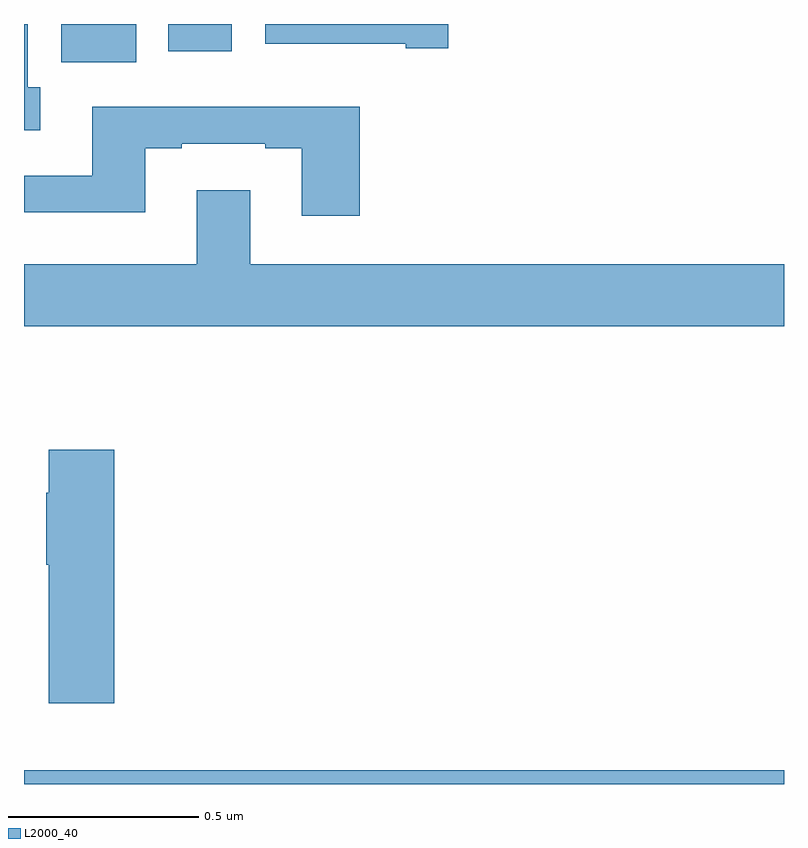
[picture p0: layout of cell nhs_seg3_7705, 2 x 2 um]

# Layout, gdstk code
import gdstk
lib = gdstk.Library(unit=1e-6, precision=1e-09)
def R(c, l, rs):  # rectangles x0, y0, x1, y1
    for r in rs: c.add(gdstk.rectangle(r[:2], r[2:], *l))
def P(c, l, *ps):  # polygons
    for p in ps: c.add(gdstk.Polygon(p, *l))
L2000_40 = (2000, 40)

nhs_seg3_7705 = lib.new_cell('nhs_seg3_7705')
R(nhs_seg3_7705, L2000_40, [(207,678.4,209,678.436), (207.098,680.3,207.295,680.4), (207.38,680.328,207.547,680.4)])
P(nhs_seg3_7705, L2000_40, [(207.043,680.234),(207.01,680.234),(207.01,680.4),(207,680.4),(207,680.121),(207.043,680.121)],
  [(208.117,680.4),(207.635,680.4),(207.635,680.348),(208.004,680.348),(208.004,680.336),(208.117,680.336)],
  [(207.884,680.182),(207.179,680.182),(207.179,680.001),(207,680.001),(207,679.904),(207.319,679.904),(207.319,680.073),(207.415,680.073),(207.415,680.085),(207.635,680.085),(207.635,680.073),(207.731,680.073),(207.731,679.896),(207.884,679.896)],
  [(209,679.768),(207.595,679.768),(207.595,679.963),(207.455,679.963),(207.455,679.768),(207,679.768),(207,679.604),(209,679.604)],
  [(207.238,679.279),(207.065,679.279),(207.065,679.166),(207.058,679.166),(207.058,678.977),(207.065,678.977),(207.065,678.612),(207.238,678.612)])

lib.write_gds('nhs_seg3_7705.gds')
